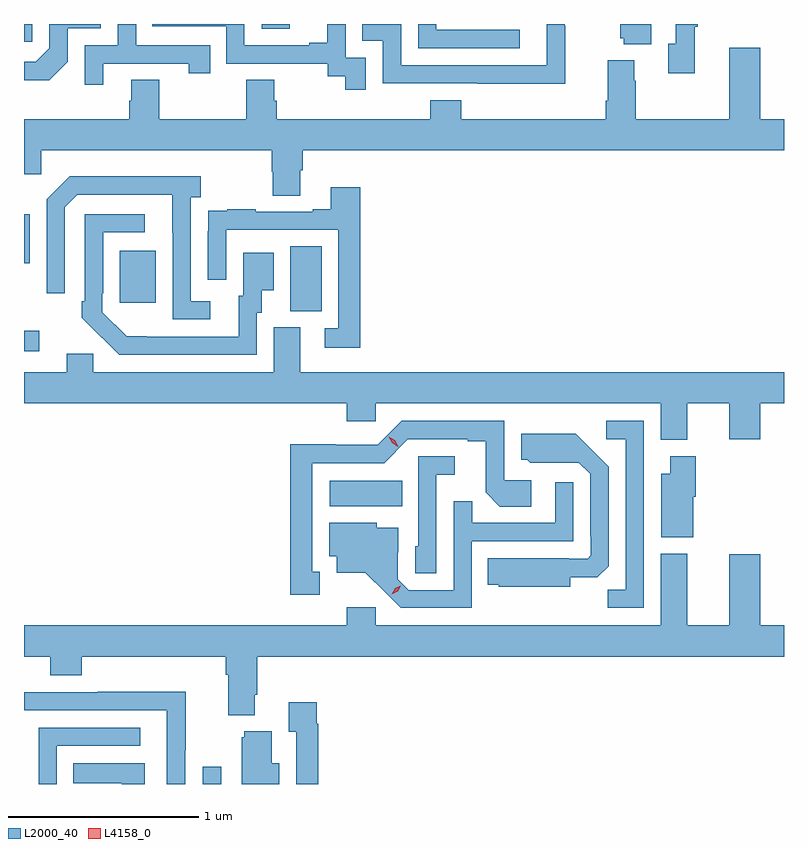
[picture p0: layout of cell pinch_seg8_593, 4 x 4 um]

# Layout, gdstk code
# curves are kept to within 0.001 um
import gdstk
lib = gdstk.Library(unit=1e-6, precision=1e-09)
def R(c, l, rs):  # rectangles x0, y0, x1, y1
    for r in rs: c.add(gdstk.rectangle(r[:2], r[2:], *l))
def P(c, l, *ps):  # polygons
    for p in ps: c.add(gdstk.Polygon(p, *l))
L2000_40 = (2000, 40)
L4158_0 = (4158, 0)

pinch_seg8_593 = lib.new_cell('pinch_seg8_593')
R(pinch_seg8_593, L2000_40, [(138.261,1099.845,138.357,1099.936), (138.93,1101.308,139.31,1101.442), (137.32,1102.122,137.401,1102.231), (138.722,1102.333,138.886,1102.676), (137.825,1102.377,138.013,1102.651), (137.32,1102.586,137.35,1102.843), (137.32,1103.751,137.364,1103.845), (138.57,1103.82,138.718,1103.845)])
P(pinch_seg8_593, L2000_40, [(139.119,1103.667),(139.014,1103.667),(139.014,1103.845),(138.917,1103.845),(138.917,1103.746),(138.821,1103.746),(138.821,1103.733),(138.48,1103.733),(138.48,1103.845),(137.995,1103.845),(137.995,1103.832),(138.384,1103.832),(138.384,1103.637),(138.918,1103.637),(138.918,1103.569),(139.011,1103.569),(139.011,1103.499),(139.119,1103.499)],
  [(139.93,1103.814),(139.491,1103.814),(139.491,1103.845),(139.395,1103.845),(139.395,1103.718),(139.93,1103.718)],
  [(140.849,1103.83),(140.867,1103.83),(140.867,1103.845),(140.751,1103.845),(140.751,1103.742),(140.711,1103.742),(140.711,1103.586),(140.849,1103.586)],
  [(137.55,1103.646),(137.55,1103.823),(137.724,1103.823),(137.724,1103.845),(137.454,1103.845),(137.454,1103.718),(137.382,1103.646),(137.32,1103.646),(137.32,1103.549),(137.452,1103.549)],
  [(140.169,1103.837),(140.166,1103.837),(140.166,1103.845),(140.07,1103.845),(140.07,1103.628),(139.305,1103.628),(139.305,1103.845),(139.099,1103.845),(139.099,1103.757),(139.209,1103.757),(139.209,1103.532),(139.705,1103.532),(139.705,1103.531),(140.169,1103.531)],
  [(137.737,1103.637),(138.188,1103.637),(138.188,1103.586),(138.299,1103.586),(138.299,1103.733),(137.91,1103.733),(137.91,1103.845),(137.814,1103.845),(137.814,1103.733),(137.64,1103.733),(137.64,1103.526),(137.737,1103.526)],
  [(140.62,1103.845),(140.459,1103.845),(140.459,1103.769),(140.477,1103.769),(140.477,1103.738),(140.62,1103.738)],
  [(138.49,1103.552),(138.49,1103.344),(138.033,1103.344),(138.033,1103.552),(137.885,1103.552),(137.885,1103.442),(137.873,1103.442),(137.873,1103.344),(137.32,1103.344),(137.32,1103.054),(137.412,1103.054),(137.412,1103.18),(138.623,1103.18),(138.623,1103.067),(138.628,1103.067),(138.628,1102.942),(138.775,1102.942),(138.775,1103.074),(138.788,1103.074),(138.788,1103.18),(141.32,1103.18),(141.32,1103.344),(141.196,1103.344),(141.196,1103.719),(141.032,1103.719),(141.032,1103.344),(140.541,1103.344),(140.541,1103.546),(140.533,1103.546),(140.533,1103.653),(140.393,1103.653),(140.393,1103.44),(140.381,1103.44),(140.381,1103.344),(139.622,1103.344),(139.622,1103.443),(139.457,1103.443),(139.457,1103.344),(138.65,1103.344),(138.65,1103.442),(138.637,1103.442),(138.637,1103.552)],
  [(138.301,1102.386),(138.198,1102.386),(138.198,1102.934),(138.25,1102.934),(138.25,1103.044),(137.56,1103.044),(137.439,1102.923),(137.439,1102.428),(137.535,1102.428),(137.535,1102.881),(137.601,1102.947),(138.101,1102.947),(138.102,1102.29),(138.301,1102.29)],
  [(139.091,1102.987),(138.935,1102.987),(138.935,1102.87),(138.839,1102.87),(138.839,1102.857),(138.539,1102.857),(138.539,1102.87),(138.391,1102.87),(138.391,1102.863),(138.289,1102.863),(138.289,1102.754),(138.288,1102.754),(138.288,1102.5),(138.384,1102.5),(138.384,1102.761),(138.975,1102.761),(138.975,1102.245),(138.903,1102.245),(138.903,1102.14),(139.091,1102.14)],
  [(138.546,1102.326),(138.571,1102.326),(138.571,1102.445),(138.634,1102.445),(138.634,1102.642),(138.473,1102.642),(138.473,1102.416),(138.449,1102.416),(138.449,1102.2),(137.862,1102.201),(137.733,1102.329),(137.733,1102.429),(137.736,1102.429),(137.736,1102.749),(137.956,1102.749),(137.956,1102.845),(137.64,1102.845),(137.64,1102.387),(137.625,1102.387),(137.625,1102.299),(137.822,1102.104),(138.546,1102.104)],
  [(140.812,1101.848),(141.032,1101.848),(141.032,1101.66),(141.196,1101.66),(141.196,1101.848),(141.32,1101.848),(141.32,1102.012),(138.775,1102.012),(138.775,1102.248),(138.635,1102.248),(138.635,1102.012),(137.685,1102.012),(137.685,1102.11),(137.546,1102.11),(137.546,1102.012),(137.32,1102.012),(137.32,1101.848),(139.019,1101.848),(139.019,1101.755),(139.17,1101.755),(139.17,1101.848),(140.672,1101.848),(140.672,1101.656),(140.812,1101.656)],
  [(138.877,1100.961),(138.838,1100.961),(138.838,1101.534),(139.215,1101.534),(139.341,1101.66),(139.655,1101.66),(139.655,1101.648),(139.749,1101.648),(139.749,1101.38),(139.825,1101.304),(139.99,1101.304),(139.99,1101.444),(139.848,1101.444),(139.848,1101.756),(139.308,1101.756),(139.182,1101.63),(138.96,1101.63),(138.96,1101.632),(138.72,1101.632),(138.72,1100.841),(138.877,1100.841)],
  [(140.583,1101.756),(140.385,1101.756),(140.385,1101.66),(140.487,1101.66),(140.487,1100.867),(140.392,1100.867),(140.392,1100.772),(140.583,1100.772)],
  [(140.194,1100.933),(140.338,1100.933),(140.397,1100.992),(140.397,1101.514),(140.225,1101.688),(139.937,1101.688),(139.937,1101.552),(139.968,1101.552),(139.984,1101.536),(140.241,1101.537),(140.301,1101.477),(140.301,1101.148),(140.304,1101.148),(140.304,1101.048),(140.286,1101.03),(140.186,1101.03),(140.186,1101.034),(139.762,1101.034),(139.762,1100.894),(139.818,1100.894),(139.818,1100.882),(140.194,1100.882)],
  [(140.842,1101.357),(140.855,1101.357),(140.855,1101.571),(140.72,1101.571),(140.72,1101.478),(140.675,1101.478),(140.675,1101.143),(140.842,1101.143)],
  [(139.491,1101.473),(139.588,1101.473),(139.588,1101.57),(139.395,1101.57),(139.395,1101.096),(139.38,1101.096),(139.38,1100.953),(139.491,1100.953)],
  [(139.677,1101.123),(140.211,1101.123),(140.211,1101.433),(140.115,1101.433),(140.115,1101.219),(139.679,1101.219),(139.679,1101.332),(139.581,1101.332),(139.581,1100.865),(139.344,1100.865),(139.287,1100.922),(139.287,1101.064),(139.291,1101.064),(139.291,1101.193),(139.176,1101.193),(139.176,1101.22),(138.926,1101.22),(138.926,1101.044),(138.965,1101.044),(138.965,1100.957),(139.117,1100.957),(139.304,1100.772),(139.677,1100.772)],
  [(138.535,1100.314),(138.548,1100.314),(138.548,1100.516),(141.32,1100.516),(141.32,1100.68),(141.196,1100.68),(141.196,1101.055),(141.032,1101.055),(141.032,1100.68),(140.812,1100.68),(140.812,1101.058),(140.672,1101.058),(140.672,1100.68),(139.17,1100.68),(139.17,1100.776),(139.019,1100.776),(139.019,1100.68),(137.32,1100.68),(137.32,1100.516),(137.459,1100.516),(137.459,1100.417),(137.624,1100.417),(137.624,1100.516),(138.383,1100.516),(138.383,1100.42),(138.395,1100.42),(138.395,1100.207),(138.535,1100.207)],
  [(138.168,1100.023),(138.171,1100.023),(138.171,1100.33),(137.707,1100.33),(137.707,1100.328),(137.32,1100.328),(137.32,1100.232),(138.072,1100.232),(138.072,1099.845),(138.168,1099.845)],
  [(138.869,1100.162),(138.862,1100.162),(138.862,1100.275),(138.713,1100.275),(138.713,1100.119),(138.753,1100.119),(138.753,1099.845),(138.869,1099.845)],
  [(137.493,1100.046),(137.932,1100.046),(137.932,1100.142),(137.397,1100.142),(137.397,1099.845),(137.493,1099.845)],
  [(138.664,1099.954),(138.625,1099.954),(138.625,1100.122),(138.479,1100.122),(138.479,1100.091),(138.467,1100.091),(138.467,1099.845),(138.664,1099.845)],
  [(137.956,1099.954),(137.578,1099.954),(137.578,1099.85),(137.835,1099.85),(137.835,1099.845),(137.956,1099.845)])
P(pinch_seg8_593, L4158_0, [(139.255,1100.844),(139.255,1100.845),(139.273,1100.874),(139.304,1100.888),(139.304,1100.888),(139.304,1100.888),(139.286,1100.859),(139.256,1100.844)],
  [(139.288,1101.621),(139.257,1101.64),(139.239,1101.673),(139.239,1101.673),(139.24,1101.673),(139.271,1101.654),(139.289,1101.621),(139.289,1101.621)])

lib.write_gds('pinch_seg8_593.gds')
